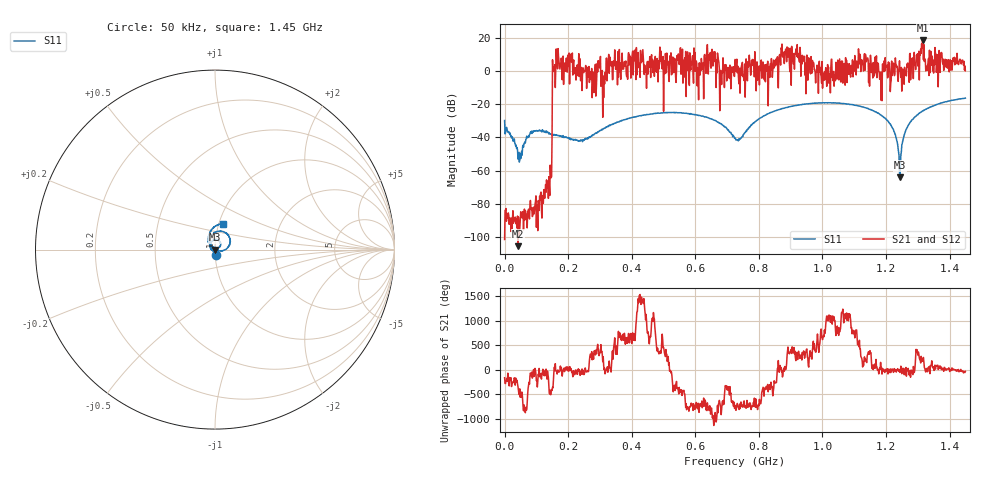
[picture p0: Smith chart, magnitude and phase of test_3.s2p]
! Created with skrf 1.11.0 (http://scikit-rf.org).
# Hz S RI R 50.0
!freq ReS11 ImS11 ReS21 ImS21 ReS12 ImS12 ReS22 ImS22
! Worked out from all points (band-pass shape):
!   1001 points, 50 kHz to 1.45 GHz, reference 50 ohm
!   highest |S21| = 18.37 dB at 1.315 GHz (marker M1); lowest = -105.4 dB at 42.1 MHz (marker M2)
!   |S21| within 3 dB of the highest: 637.8643 MHz to 638.1295 MHz (265.1 kHz wide, 0.0416 % of centre); 872.5326 MHz to 873.0796 MHz (547 kHz wide, 0.0627 % of centre) (the widest 2 of 6)
!   lowest |S11| = -63.9 dB at 1.244 GHz (marker M3), VSWR 1.00, Z = 50 - j0.0628 ohm
!   |S11| at or under -10 dB: start of sweep to end of sweep
!   |S22| runs from - to - dB; largest |S21 - S12| = 0
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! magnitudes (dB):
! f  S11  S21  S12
! 50 kHz  -29.8  -101.4  -101.4
! 42.1 MHz  -53.0  -105.4  -105.4
! 114.6 MHz  -35.8  -72.8  -72.8
! 140.7 MHz  -37.3  -69.5  -69.5
! 158.1 MHz  -38.4  3.8  3.8
! 242.2 MHz  -41.7  -0.4  -0.4
! 282.8 MHz  -37.9  -1.5  -1.5
! 298.7 MHz  -35.9  1.9  1.9
! 310.3 MHz  -34.7  -5.0  -5.0
! 330.6 MHz  -32.6  6.2  6.2
! 484.3 MHz  -25.3  6.2  6.2
! 639.5 MHz  -28.0  8.8  8.8
! 725 MHz  -40.6  6.9  6.9
! 836.7 MHz  -25.0  4.5  4.5
! 877.3 MHz  -22.5  10.7  10.7
! 967.2 MHz  -19.5  -1.3  -1.3
! 1.209 GHz  -31.0  -0.1  -0.1
! 1.244 GHz  -63.9  0.2  0.2
! 1.269 GHz  -33.3  4.8  4.8
! 1.315 GHz  -24.1  18.4  18.4
! 1.328 GHz  -22.8  2.9  2.9
! 1.45 GHz  -16.3  0.1  0.1
